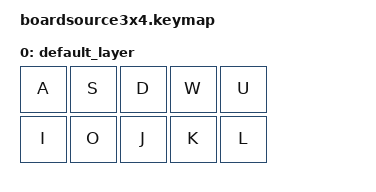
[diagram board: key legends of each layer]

#include <dt-bindings/zmk/keys.h>

/ {
    keymap {
        compatible = "zmk,keymap";

        default_layer {
            bindings = <
                &kp A &kp S &kp D &kp W &kp U
                &kp I &kp O &kp J &kp K &kp L
            >;
        };
    };
};
